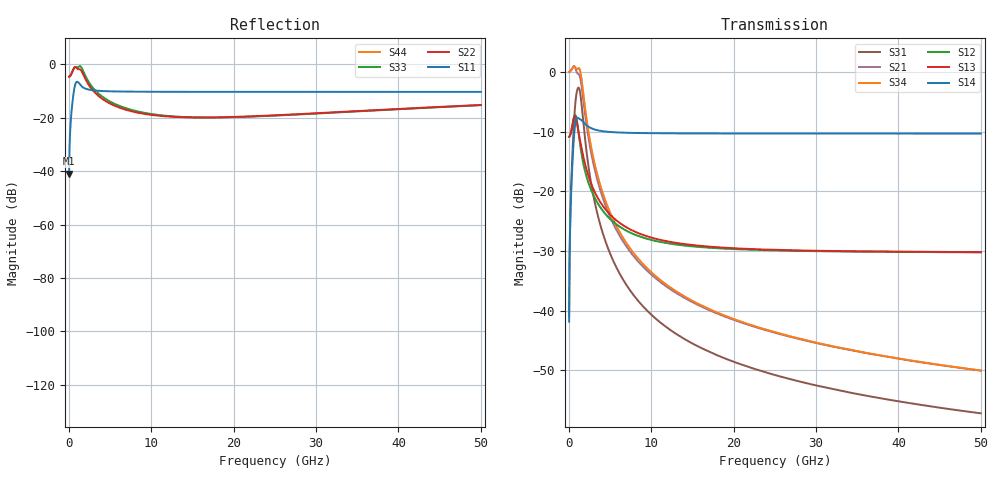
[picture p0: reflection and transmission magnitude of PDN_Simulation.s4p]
! File created by SignalIntegrity v1.2.1: Signal and Power Integrity Tools
! https://github.com/TeledyneLeCroy/SignalIntegrity
# MHz S MA R 50.0
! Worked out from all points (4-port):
!   2000 points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, 25 MHz to 50 GHz, reference 50 ohm
!   strongest paths, dB at 25 MHz, 12.53 GHz, 25.02 GHz, 37.52 GHz, 50 GHz:
!     S14: -41.8, -10.3, -10.3, -10.3, -10.3
!     S13: -10.9, -28.5, -29.8, -30.1, -30.2
!     S12: -10.9, -28.8, -29.9, -30.1, -30.2
!     S34: 0.0, -36.3, -43.6, -47.4, -50.0
!     S21: 0.0, -36.6, -43.7, -47.5, -50.1
!     S31: -40.9, -43.5, -50.8, -54.6, -57.2
!   lowest |S11| = -40.9 dB at 25 MHz (marker M1), VSWR 1.02, Z = 50 + j0.9 ohm
!   |S11| at or under -10 dB: start of sweep to 605.3 MHz; 3.976 GHz to end of sweep
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25  0.008997 90.1  0.2864 0.2  0.2864 0.3  0.008097 90.1
    1 -1.0  0.5794 -179.3  0.2864 179.7  0.008099 -90.4
    0.008999 -90.4  0.2864 179.7  0.5934 -179.3  1 -1.0
    0 0.0  0 0.0  0 0.0  0 0.0
525  0.2587 77.6  0.393 -8.6  0.3885 -7.6  0.2303 79.0
     1.109 -28.3  0.7984 -178.6  0.4407 159.1  0.2612 -114.3
     0.2901 -114.7  0.4407 159.1  0.8027 -177.3  1.101 -25.6
     0 0.0  0 0.0  0 0.0  0 0.0
1175  0.4527 18.2  0.31 -63.4  0.3108 -56.2  0.4094 26.2
      0.9561 -74.6  0.8101 149.6  0.5061 63.1  0.6667 145.5
      0.7393 144.7  0.5061 63.1  0.8966 156.1  1.075 -69.4
      0 0.0  0 0.0  0 0.0  0 0.0
1800  0.362 4.3  0.1641 -73.0  0.1889 -69.1  0.3769 9.3
      0.5402 -122.6  0.6158 122.4  0.1596 -9.4  0.3183 69.1
      0.352 67.9  0.1596 -9.4  0.7089 123.2  0.6138 -122.0
      0 0.0  0 0.0  0 0.0  0 0.0
4525  0.3135 0.5  0.06343 -59.9  0.06942 -61.9  0.3162 1.0
      0.07324 -138.6  0.2018 124.4  0.007406 -20.3  0.03374 42.6
      0.03661 40.0  0.007406 -20.3  0.2211 121.7  0.07984 -140.9
      0 0.0  0 0.0  0 0.0  0 0.0
11350  0.3058 0.1  0.03735 -35.0  0.03882 -37.7  0.3062 0.2
       0.01682 -120.6  0.1073 161.7  0.000941 21.8  0.007422 59.7
       0.007703 56.8  0.000941 21.8  0.1102 157.9  0.01748 -123.4
       0 0.0  0 0.0  0 0.0  0 0.0
50000  0.3044 0.0  0.03083 -9.0  0.03092 -10.0  0.3044 0.1
       0.00314 -98.0  0.1733 -125.3  0.00014 72.0  0.001375 82.0
       0.001379 81.0  0.00014 72.0  0.1719 -125.6  0.00315 -99.0
       0 0.0  0 0.0  0 0.0  0 0.0
